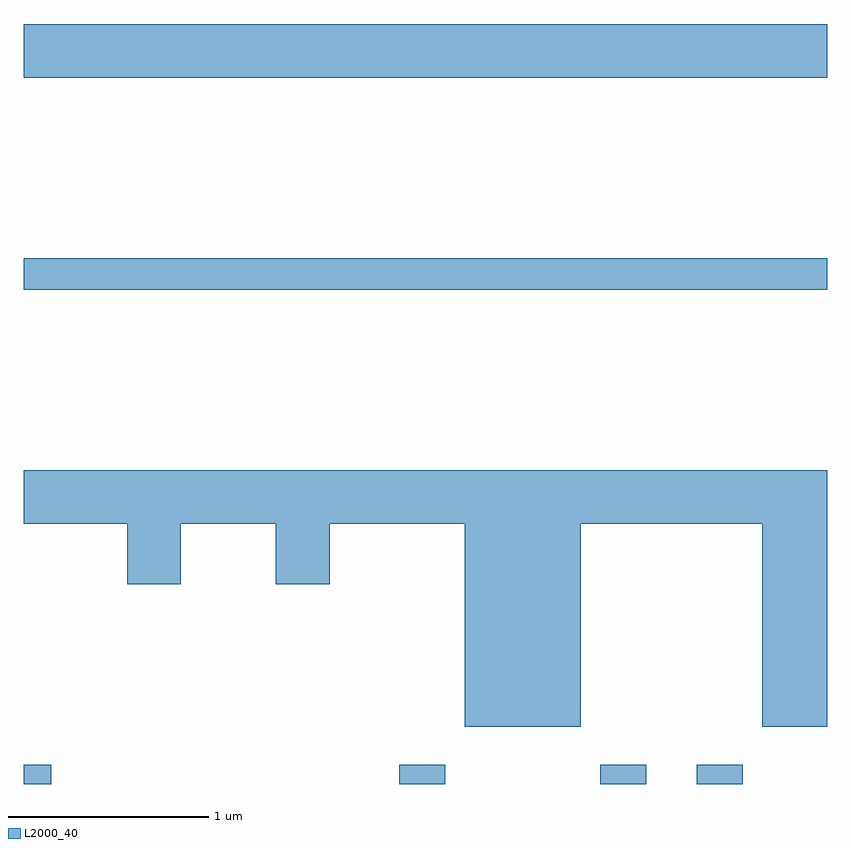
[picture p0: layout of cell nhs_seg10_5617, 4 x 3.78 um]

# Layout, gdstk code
import gdstk
lib = gdstk.Library(unit=1e-6, precision=1e-09)
def R(c, l, rs):  # rectangles x0, y0, x1, y1
    for r in rs: c.add(gdstk.rectangle(r[:2], r[2:], *l))
def P(c, l, *ps):  # polygons
    for p in ps: c.add(gdstk.Polygon(p, *l))
L2000_40 = (2000, 40)

nhs_seg10_5617 = lib.new_cell('nhs_seg10_5617')
R(nhs_seg10_5617, L2000_40, [(349.611,2212.522,349.749,2212.619), (351.481,2212.522,351.709,2212.619), (352.481,2212.522,352.709,2212.619), (352.961,2212.522,353.189,2212.619), (349.611,2214.981,353.611,2215.139), (349.611,2216.036,353.611,2216.304)])
P(nhs_seg10_5617, L2000_40, [(352.384,2213.816),(353.286,2213.816),(353.286,2212.806),(353.611,2212.806),(353.611,2214.084),(349.611,2214.084),(349.611,2213.816),(350.126,2213.816),(350.126,2213.516),(350.394,2213.516),(350.394,2213.816),(350.866,2213.816),(350.866,2213.516),(351.134,2213.516),(351.134,2213.816),(351.806,2213.816),(351.806,2212.806),(352.384,2212.806)])

lib.write_gds('nhs_seg10_5617.gds')
